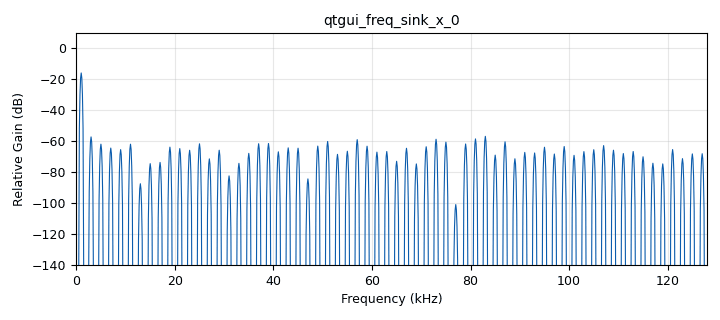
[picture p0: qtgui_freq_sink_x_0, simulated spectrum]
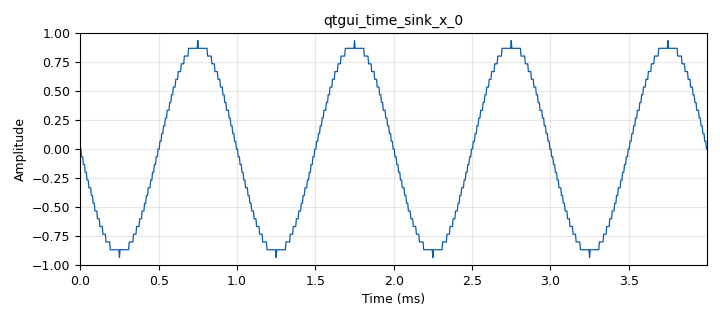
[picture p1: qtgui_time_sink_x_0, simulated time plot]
<?xml version='1.0' encoding='utf-8'?>
<?grc format='1' created='3.7.10'?>
<flow_graph>
<block>
<key>options</key>
<param><key>id</key><value>quantization</value></param>
<param><key>generate_options</key><value>qt_gui</value></param>
</block>
<block>
<key>variable_qtgui_range</key>
<param><key>id</key><value>freq</value></param>
<param><key>value</key><value>1e3</value></param>
<param><key>label</key><value>Frequency</value></param>
<param><key>orient</key><value>Qt.Horizontal</value></param>
<param><key>start</key><value>100</value></param>
<param><key>step</key><value>10</value></param>
<param><key>stop</key><value>samp_rate/2.0</value></param>
</block>
<block>
<key>variable_qtgui_chooser</key>
<param><key>id</key><value>res</value></param>
<param><key>value</key><value>4</value></param>
<param><key>label0</key><value>4 bits</value></param>
<param><key>label1</key><value>8 bits</value></param>
<param><key>label2</key><value>12 bits</value></param>
<param><key>label3</key><value>16 bits</value></param>
<param><key>label</key><value>Resolution</value></param>
<param><key>num_opts</key><value>4</value></param>
<param><key>option0</key><value>4</value></param>
<param><key>option1</key><value>8</value></param>
<param><key>option2</key><value>12</value></param>
<param><key>option3</key><value>16</value></param>
<param><key>orient</key><value>Qt.QHBoxLayout</value></param>
<param><key>type</key><value>int</value></param>
<param><key>widget</key><value>radio_buttons</value></param>
</block>
<block>
<key>variable</key>
<param><key>id</key><value>samp_rate</value></param>
<param><key>value</key><value>256e3</value></param>
</block>
<block>
<key>analog_sig_source_x</key>
<param><key>id</key><value>analog_sig_source_x_0</value></param>
<param><key>amp</key><value>0.9</value></param>
<param><key>freq</key><value>freq</value></param>
<param><key>offset</key><value>0</value></param>
<param><key>type</key><value>float</value></param>
<param><key>samp_rate</key><value>samp_rate</value></param>
<param><key>waveform</key><value>analog.GR_COS_WAVE</value></param>
</block>
<block>
<key>blocks_float_to_int</key>
<param><key>id</key><value>blocks_float_to_int_0</value></param>
<param><key>scale</key><value>math.pow(2, res)-1</value></param>
</block>
<block>
<key>blocks_int_to_float</key>
<param><key>id</key><value>blocks_int_to_float_0</value></param>
<param><key>scale</key><value>math.pow(2, res)-1</value></param>
</block>
<block>
<key>blocks_throttle</key>
<param><key>id</key><value>blocks_throttle_0</value></param>
<param><key>samples_per_second</key><value>samp_rate</value></param>
<param><key>type</key><value>float</value></param>
</block>
<block>
<key>import</key>
<param><key>id</key><value>import_0</value></param>
<param><key>import</key><value>import math</value></param>
</block>
<block>
<key>qtgui_freq_sink_x</key>
<param><key>id</key><value>qtgui_freq_sink_x_0</value></param>
<param><key>bw</key><value>samp_rate</value></param>
<param><key>fc</key><value>0</value></param>
<param><key>fftsize</key><value>2048</value></param>
<param><key>showports</key><value>True</value></param>
<param><key>freqhalf</key><value>False</value></param>
<param><key>type</key><value>float</value></param>
<param><key>wintype</key><value>firdes.WIN_BLACKMAN_hARRIS</value></param>
</block>
<block>
<key>qtgui_time_sink_x</key>
<param><key>id</key><value>qtgui_time_sink_x_0</value></param>
<param><key>color1</key><value>"blue"</value></param>
<param><key>label1</key><value></value></param>
<param><key>size</key><value>1024</value></param>
<param><key>srate</key><value>samp_rate</value></param>
<param><key>type</key><value>float</value></param>
</block>
<connection><source_block_id>analog_sig_source_x_0</source_block_id><sink_block_id>blocks_float_to_int_0</sink_block_id><source_key>0</source_key><sink_key>0</sink_key></connection>
<connection><source_block_id>blocks_float_to_int_0</source_block_id><sink_block_id>blocks_int_to_float_0</sink_block_id><source_key>0</source_key><sink_key>0</sink_key></connection>
<connection><source_block_id>blocks_int_to_float_0</source_block_id><sink_block_id>blocks_throttle_0</sink_block_id><source_key>0</source_key><sink_key>0</sink_key></connection>
<connection><source_block_id>blocks_throttle_0</source_block_id><sink_block_id>qtgui_freq_sink_x_0</sink_block_id><source_key>0</source_key><sink_key>0</sink_key></connection>
<connection><source_block_id>blocks_throttle_0</source_block_id><sink_block_id>qtgui_time_sink_x_0</sink_block_id><source_key>0</source_key><sink_key>0</sink_key></connection>
</flow_graph>
